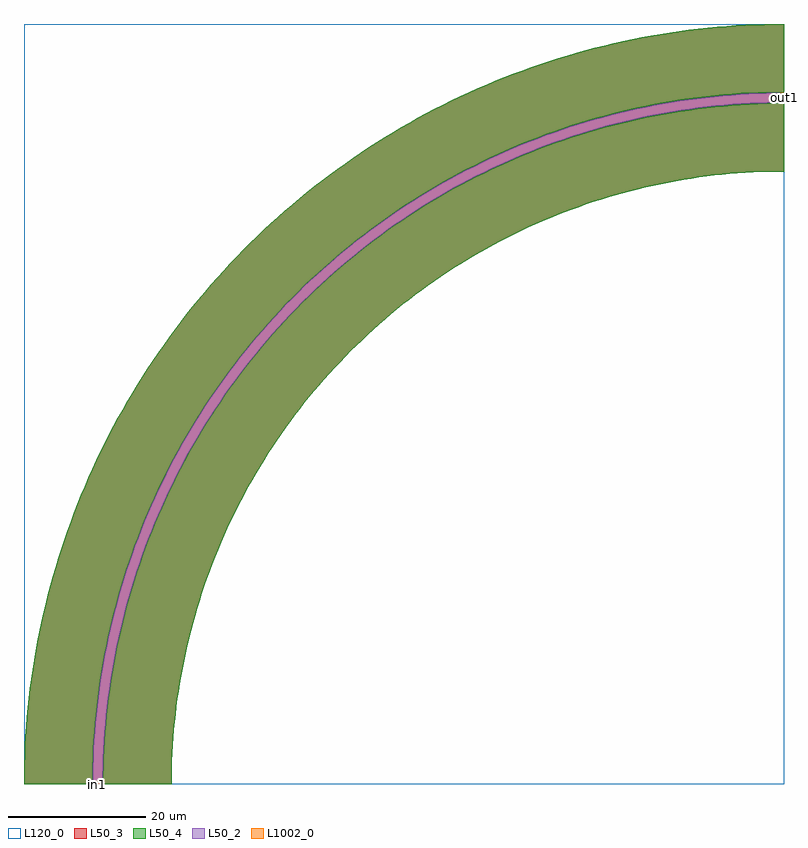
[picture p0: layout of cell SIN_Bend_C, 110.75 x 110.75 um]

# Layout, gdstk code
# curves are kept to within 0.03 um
import gdstk
lib = gdstk.Library(unit=1e-6, precision=1e-09)
def R(c, l, rs):  # rectangles x0, y0, x1, y1
    for r in rs: c.add(gdstk.rectangle(r[:2], r[2:], *l))
def P(c, l, *ps):  # polygons
    for p in ps: c.add(gdstk.Polygon(p, *l))
L50_2 = (50, 2)
L50_3 = (50, 3)
L50_4 = (50, 4)
L120_0 = (120, 0)
L1002_0 = (1002, 0)

sin_bend_c = lib.new_cell('SIN_Bend_C')
P(sin_bend_c, L50_2, [(110.75,100.75),(108.218,100.719),(105.688,100.624),(103.161,100.465),(100.639,100.242),(98.123,99.957),(95.615,99.608),(93.117,99.196),(90.63,98.722),(88.155,98.185),(85.695,97.586),(83.251,96.926),(80.824,96.204),(77.218,95.007),(74.841,94.135),(72.487,93.202),(70.157,92.212),(67.853,91.163),(64.448,89.481),(62.214,88.289),(60.01,87.042),(57.838,85.739),(55.7,84.382),(53.597,82.972),(51.53,81.509),(49.5,79.995),(47.509,78.431),(45.559,76.817),(43.649,75.155),(41.782,73.445),(39.958,71.689),(38.179,69.887),(36.446,68.041),(34.759,66.152),(33.121,64.222),(31.532,62.251),(29.992,60.241),(28.504,58.192),(27.067,56.107),(25.684,53.986),(24.354,51.831),(23.078,49.643),(21.858,47.424),(20.694,45.175),(19.588,42.898),(18.539,40.593),(17.547,38.263),(16.615,35.909),(15.743,33.532),(14.93,31.134),(14.178,28.716),(13.487,26.28),(12.857,23.828),(12.289,21.361),(11.784,18.88),(11.341,16.387),(10.96,13.884),(10.508,10.113),(10.285,7.591),(10.126,5.064),(10.031,2.534),(10,0),(11.5,0),(11.531,2.514),(11.626,5.027),(11.786,7.536),(12.008,10.041),(12.294,12.539),(12.643,15.029),(13.056,17.509),(13.53,19.978),(14.068,22.434),(14.667,24.876),(15.328,27.302),(16.05,29.711),(16.833,32.1),(17.677,34.469),(18.58,36.816),(19.542,39.14),(20.563,41.438),(21.642,43.709),(22.778,45.952),(23.97,48.166),(25.218,50.349),(26.521,52.499),(28.576,55.661),(30.012,57.725),(31.5,59.752),(33.828,62.72),(35.442,64.648),(37.104,66.536),(38.814,68.381),(40.569,70.182),(42.37,71.937),(44.214,73.646),(47.06,76.121),(49.009,77.71),(50.997,79.249),(53.024,80.737),(55.088,82.173),(58.25,84.229),(60.4,85.532),(62.584,86.78),(64.798,87.972),(67.041,89.108),(69.312,90.187),(71.61,91.208),(73.934,92.17),(76.28,93.073),(78.649,93.916),(81.038,94.699),(83.447,95.422),(85.873,96.083),(88.315,96.682),(90.771,97.219),(93.24,97.694),(95.721,98.106),(98.211,98.456),(100.709,98.742),(103.214,98.964),(105.723,99.124),(108.236,99.219),(110.75,99.25)])
P(sin_bend_c, L50_3, [(21.507,1.14),(21.613,4.515),(21.957,9.035),(22.365,12.4),(22.901,15.752),(23.561,19.072),(24.348,22.37),(25.262,25.644),(26.665,29.925),(27.87,33.115),(29.183,36.23),(30.619,39.303),(32.714,43.314),(35.006,47.207),(36.852,50.048),(39.488,53.736),(41.579,56.401),(44.528,59.836),(46.854,62.314),(48.438,63.898),(51.768,66.985),(53.474,68.449),(56.122,70.58),(59.761,73.252),(62.583,75.138),(64.501,76.333),(68.429,78.579),(72.467,80.624),(75.557,82.019),(77.639,82.882),(81.877,84.451),(86.194,85.807),(88.379,86.402),(91.681,87.191),(96.122,88.044),(100.603,88.673),(103.97,88.993),(106.235,89.137),(110.75,89.25),(110.75,110.75),(107.969,110.716),(105.177,110.611),(102.406,110.437),(98.258,110.044),(95.492,109.695),(92.74,109.277),(89.993,108.789),(87.27,108.234),(83.204,107.271),(80.525,106.547),(77.853,105.753),(75.2,104.89),(72.578,103.965),(69.975,102.972),(66.131,101.366),(63.598,100.213),(59.856,98.365),(57.395,97.052),(54.974,95.681),(52.588,94.25),(50.24,92.76),(47.922,91.206),(44.534,88.777),(42.328,87.087),(40.153,85.334),(36.992,82.618),(34.937,80.735),(32.923,78.796),(30.015,75.815),(28.134,73.759),(26.311,71.664),(24.537,69.522),(21.974,66.217),(19.543,62.826),(17.242,59.347),(15.071,55.78),(13.038,52.137),(11.14,48.412),(9.384,44.618),(8.298,42.065),(7.27,39.468),(5.86,35.551),(4.593,31.567),(3.479,27.546),(2.516,23.482),(1.708,19.383),(1.055,15.262),(0.558,11.112),(0.313,8.346),(0.139,5.575),(0.034,2.782),(0,0),(21.5,0)])
P(sin_bend_c, L50_4, [(10,0),(10.031,2.534),(10.126,5.064),(10.389,8.853),(10.643,11.372),(10.96,13.884),(11.554,17.635),(12.289,21.361),(12.857,23.828),(13.487,26.28),(14.178,28.716),(14.93,31.134),(15.743,33.532),(16.615,35.909),(17.547,38.263),(18.539,40.593),(19.588,42.898),(20.694,45.175),(21.858,47.424),(23.078,49.643),(25.012,52.913),(27.067,56.107),(28.504,58.192),(29.992,60.241),(31.532,62.251),(33.121,64.222),(34.759,66.152),(36.446,68.041),(38.179,69.887),(39.958,71.689),(41.782,73.445),(43.649,75.155),(45.559,76.817),(47.509,78.431),(50.51,80.759),(52.559,82.247),(54.644,83.683),(56.765,85.067),(58.92,86.397),(61.108,87.672),(63.327,88.892),(65.576,90.056),(67.853,91.163),(70.157,92.212),(72.487,93.202),(74.841,94.135),(78.415,95.421),(80.824,96.204),(83.251,96.926),(85.695,97.586),(88.155,98.185),(90.63,98.722),(93.117,99.196),(95.615,99.608),(98.123,99.957),(100.639,100.242),(103.161,100.465),(105.688,100.624),(108.218,100.719),(110.75,100.75),(110.75,110.75),(107.969,110.716),(105.177,110.611),(102.406,110.437),(99.64,110.192),(96.867,109.878),(94.11,109.494),(91.367,109.042),(88.637,108.522),(85.916,107.931),(83.204,107.271),(80.525,106.547),(77.853,105.753),(73.892,104.438),(71.281,103.48),(68.691,102.454),(66.131,101.366),(63.598,100.213),(61.093,98.995),(58.614,97.712),(56.186,96.377),(53.774,94.972),(51.404,93.509),(49.075,91.989),(46.782,90.41),(44.534,88.777),(41.229,86.214),(39.087,84.44),(36.992,82.618),(34.937,80.735),(32.923,78.796),(30.972,76.82),(29.072,74.795),(27.216,72.718),(24.537,69.522),(22.822,67.339),(21.15,65.097),(18.761,61.676),(17.242,59.347),(15.071,55.78),(13.698,53.356),(12.385,50.895),(10.538,47.153),(9.384,44.618),(7.776,40.77),(6.312,36.859),(5.418,34.22),(4.593,31.567),(3.479,27.546),(2.516,23.482),(1.962,20.76),(1.257,16.646),(0.872,13.877),(0.558,11.112),(0.217,6.952),(0.034,2.782),(0,0)],
  [(109.493,99.243),(106.979,99.179),(104.468,99.052),(101.961,98.861),(99.459,98.607),(96.965,98.289),(94.479,97.908),(92.004,97.465),(89.541,96.959),(85.873,96.083),(83.447,95.422),(81.038,94.699),(78.649,93.916),(76.28,93.073),(73.934,92.17),(71.61,91.208),(69.312,90.187),(67.041,89.108),(64.798,87.972),(62.584,86.78),(60.4,85.532),(58.25,84.229),(55.088,82.173),(53.024,80.737),(50.997,79.249),(49.009,77.71),(47.06,76.121),(44.214,73.646),(42.37,71.937),(40.569,70.182),(38.814,68.381),(37.104,66.536),(35.442,64.648),(33.828,62.72),(32.264,60.751),(30.75,58.743),(29.287,56.698),(27.877,54.616),(26.521,52.499),(25.218,50.349),(23.367,47.063),(22.203,44.834),(21.095,42.577),(20.045,40.292),(19.054,37.981),(18.121,35.645),(17.247,33.287),(16.434,30.908),(15.681,28.509),(14.667,24.876),(14.068,22.434),(13.53,19.978),(13.056,17.509),(12.643,15.029),(12.294,12.539),(12.008,10.041),(11.786,7.536),(11.626,5.027),(11.531,2.514),(11.5,0),(21.5,0),(21.613,4.515),(21.957,9.035),(22.527,13.509),(23.105,16.857),(24.071,21.27),(25.262,25.644),(26.665,29.925),(28.291,34.148),(30.126,38.283),(32.171,42.321),(33.838,45.279),(36.226,49.112),(38.805,52.817),(41.579,56.401),(44.528,59.836),(47.64,63.111),(50.917,66.224),(54.352,69.173),(57.932,71.944),(61.637,74.523),(65.47,76.912),(68.429,78.579),(72.467,80.624),(76.602,82.459),(80.814,84.081),(85.115,85.49),(89.479,86.679),(93.898,87.646),(98.355,88.386),(101.715,88.793),(106.235,89.137),(110.75,89.25),(110.75,99.25)])
R(sin_bend_c, L120_0, [(0,0,110.75,110.75)])
R(sin_bend_c, L1002_0, [(10,0,11.5,0.5), (110.25,99.25,110.75,100.75)])
sin_bend_c.add(gdstk.Label('out1', (110.75,99.998), layer=1000, texttype=0))
sin_bend_c.add(gdstk.Label('in1', (10.699,0), layer=1000, texttype=0))

lib.write_gds('SIN_Bend_C.gds')
